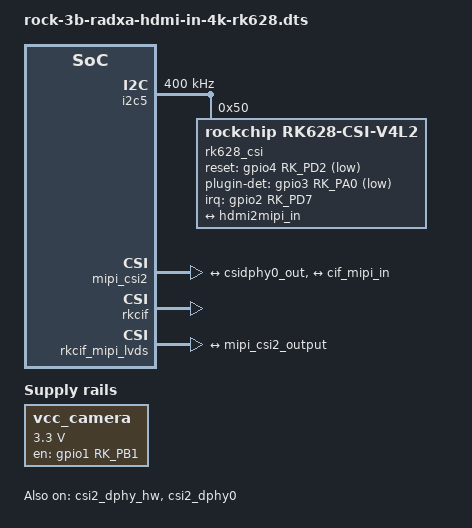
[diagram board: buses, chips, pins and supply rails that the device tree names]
/dts-v1/;
/plugin/;

#include <dt-bindings/gpio/gpio.h>
#include <dt-bindings/interrupt-controller/irq.h>
#include <dt-bindings/pinctrl/rockchip.h>

/ {
	metadata {
		title = "Enable Radxa 4K HDMI IN to MIPI CSI-2 Adapter without audio";
		compatible = "radxa,rock-3b";
		category = "camera";
		exclusive = "csi2_dphy0", "GPIO4_D2", "GPIO2_D7", "GPIO3_A0";
		description = "Enable Radxa 4K HDMI IN to MIPI CSI-2 Adapter without audio.
In addition to the CSI FPC, connect INT to pin29 and DET to pin31.
";
	};
};

&{/} {
	vcc_camera: vcc-camera {
		status = "okay";
		compatible = "regulator-fixed";
		regulator-name = "vcc_camera";
		gpio = <&gpio1 RK_PB1 GPIO_ACTIVE_HIGH>;
		enable-active-high;
		regulator-min-microvolt = <3300000>;
		regulator-max-microvolt = <3300000>;
		regulator-always-on;
	};
};

&i2c5 {
	status = "okay";
	clock-frequency = <400000>;
	pinctrl-names = "default";
	pinctrl-0 = <&i2c5m0_xfer>;
	#address-cells = <1>;
	#size-cells = <0>;

	rk628_csi: rk628-csi@50 {
		compatible = "rockchip,rk628-csi-v4l2";
		reg = <0x50>;
		pinctrl-names = "default";
		pinctrl-0 = <&rk628_pin>;
		interrupt-parent = <&gpio2>;
		interrupts = <RK_PD7 IRQ_TYPE_LEVEL_HIGH>;
		reset-gpios = <&gpio4 RK_PD2 GPIO_ACTIVE_LOW>;
		plugin-det-gpios = <&gpio3 RK_PA0 GPIO_ACTIVE_LOW>;
		continues-clk = <1>;

		rockchip,camera-module-index = <0>;
		rockchip,camera-module-facing = "back";
		rockchip,camera-module-name = "HDMI-MIPI";
		rockchip,camera-module-lens-name = "RK628-CSI";

		port {
			hdmiin_out: endpoint {
				remote-endpoint = <&hdmi2mipi_in>;
				data-lanes = <1 2>;
			};
		};
	};
};

&csi2_dphy_hw {
	status = "okay";
};

&csi2_dphy0 {
	status = "okay";

	ports {
		#address-cells = <1>;
		#size-cells = <0>;

		port@0 {
			reg = <0>;
			#address-cells = <1>;
			#size-cells = <0>;

			hdmi2mipi_in: endpoint@1 {
				reg = <1>;
				remote-endpoint = <&hdmiin_out>;
				data-lanes = <1 2>;
			};
		};

		port@1 {
			reg = <1>;

			csidphy0_out: endpoint {
				remote-endpoint = <&mipi_csi2_input>;
			};
		};
	};
};

&mipi_csi2 {
	status = "okay";

	ports {
		#address-cells = <1>;
		#size-cells = <0>;

		port@0 {
			reg = <0>;
			#address-cells = <1>;
			#size-cells = <0>;

			mipi_csi2_input: endpoint@1 {
				reg = <1>;
				remote-endpoint = <&csidphy0_out>;
			};
		};

		port@1 {
			reg = <1>;

			mipi_csi2_output: endpoint {
				remote-endpoint = <&cif_mipi_in>;
			};
		};
	};
};

&rkcif {
	status = "okay";
};

&rkcif_mipi_lvds {
	status = "okay";

	port {
		cif_mipi_in: endpoint {
			remote-endpoint = <&mipi_csi2_output>;
		};
	};
};

&rkcif_mmu {
	status = "okay";
};

&pinctrl {
	hdmiin {
		rk628_pin: rk628-pin {
			rockchip,pins =
				<2 RK_PD7 RK_FUNC_GPIO &pcfg_pull_up>,
				<4 RK_PD2 RK_FUNC_GPIO &pcfg_pull_none>,
				<3 RK_PA0 RK_FUNC_GPIO &pcfg_pull_none>;
		};
	};
};
